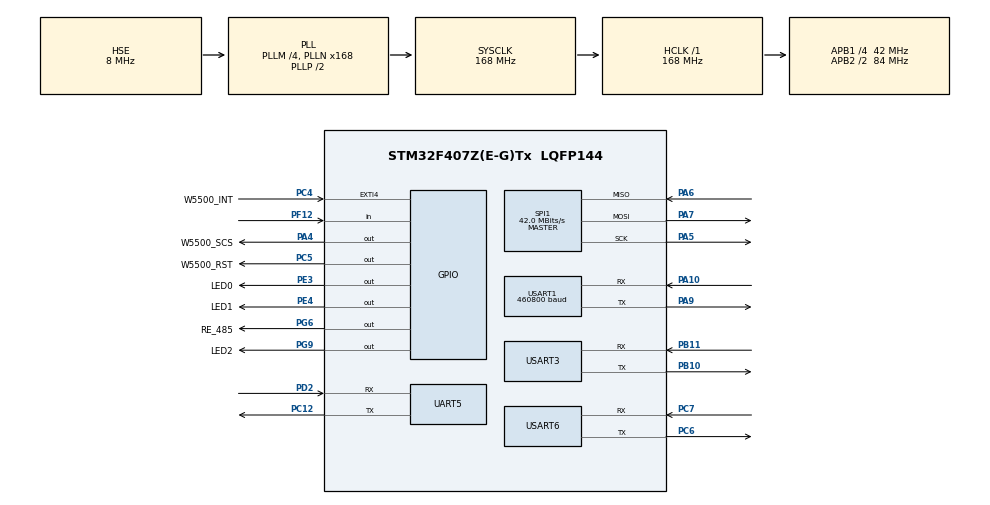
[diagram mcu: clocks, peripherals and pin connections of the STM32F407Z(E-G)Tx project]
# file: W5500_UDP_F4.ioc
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Dma.Request0=UART5_RX
Dma.Request1=USART6_RX
Dma.Request2=USART3_RX
Dma.Request3=USART1_RX
Dma.Request4=SPI1_TX
Dma.Request5=SPI1_RX
Dma.SPI1_RX.5.Direction=DMA_PERIPH_TO_MEMORY
Dma.SPI1_RX.5.FIFOMode=DMA_FIFOMODE_DISABLE
Dma.SPI1_RX.5.Instance=DMA2_Stream0
Dma.SPI1_RX.5.MemDataAlignment=DMA_MDATAALIGN_BYTE
Dma.SPI1_RX.5.MemInc=DMA_MINC_ENABLE
Dma.SPI1_RX.5.Mode=DMA_NORMAL
Dma.SPI1_RX.5.PeriphDataAlignment=DMA_PDATAALIGN_BYTE
Dma.SPI1_RX.5.PeriphInc=DMA_PINC_DISABLE
Dma.SPI1_RX.5.Priority=DMA_PRIORITY_LOW
Dma.SPI1_TX.4.Direction=DMA_MEMORY_TO_PERIPH
Dma.SPI1_TX.4.FIFOMode=DMA_FIFOMODE_DISABLE
Dma.SPI1_TX.4.Instance=DMA2_Stream3
Dma.SPI1_TX.4.MemDataAlignment=DMA_MDATAALIGN_BYTE
Dma.SPI1_TX.4.MemInc=DMA_MINC_ENABLE
Dma.SPI1_TX.4.Mode=DMA_NORMAL
Dma.SPI1_TX.4.PeriphDataAlignment=DMA_PDATAALIGN_BYTE
Dma.SPI1_TX.4.PeriphInc=DMA_PINC_DISABLE
Dma.SPI1_TX.4.Priority=DMA_PRIORITY_LOW
Dma.UART5_RX.0.Direction=DMA_PERIPH_TO_MEMORY
Dma.UART5_RX.0.FIFOMode=DMA_FIFOMODE_DISABLE
Dma.UART5_RX.0.Instance=DMA1_Stream0
Dma.UART5_RX.0.MemDataAlignment=DMA_MDATAALIGN_BYTE
Dma.UART5_RX.0.MemInc=DMA_MINC_ENABLE
Dma.UART5_RX.0.Mode=DMA_CIRCULAR
Dma.UART5_RX.0.PeriphDataAlignment=DMA_PDATAALIGN_BYTE
Dma.UART5_RX.0.PeriphInc=DMA_PINC_DISABLE
Dma.UART5_RX.0.Priority=DMA_PRIORITY_LOW
Dma.USART1_RX.3.Direction=DMA_PERIPH_TO_MEMORY
Dma.USART1_RX.3.FIFOMode=DMA_FIFOMODE_DISABLE
Dma.USART1_RX.3.Instance=DMA2_Stream2
Dma.USART1_RX.3.MemDataAlignment=DMA_MDATAALIGN_BYTE
Dma.USART1_RX.3.MemInc=DMA_MINC_ENABLE
Dma.USART1_RX.3.Mode=DMA_CIRCULAR
Dma.USART1_RX.3.PeriphDataAlignment=DMA_PDATAALIGN_BYTE
Dma.USART1_RX.3.PeriphInc=DMA_PINC_DISABLE
Dma.USART1_RX.3.Priority=DMA_PRIORITY_LOW
Dma.USART3_RX.2.Direction=DMA_PERIPH_TO_MEMORY
Dma.USART3_RX.2.FIFOMode=DMA_FIFOMODE_DISABLE
Dma.USART3_RX.2.Instance=DMA1_Stream1
Dma.USART3_RX.2.MemDataAlignment=DMA_MDATAALIGN_BYTE
Dma.USART3_RX.2.MemInc=DMA_MINC_ENABLE
Dma.USART3_RX.2.Mode=DMA_CIRCULAR
Dma.USART3_RX.2.PeriphDataAlignment=DMA_PDATAALIGN_BYTE
Dma.USART3_RX.2.PeriphInc=DMA_PINC_DISABLE
Dma.USART3_RX.2.Priority=DMA_PRIORITY_LOW
Dma.USART6_RX.1.Direction=DMA_PERIPH_TO_MEMORY
Dma.USART6_RX.1.FIFOMode=DMA_FIFOMODE_DISABLE
Dma.USART6_RX.1.Instance=DMA2_Stream1
Dma.USART6_RX.1.MemDataAlignment=DMA_MDATAALIGN_BYTE
Dma.USART6_RX.1.MemInc=DMA_MINC_ENABLE
Dma.USART6_RX.1.Mode=DMA_CIRCULAR
Dma.USART6_RX.1.PeriphDataAlignment=DMA_PDATAALIGN_BYTE
Dma.USART6_RX.1.PeriphInc=DMA_PINC_DISABLE
Dma.USART6_RX.1.Priority=DMA_PRIORITY_LOW
FREERTOS.Tasks01=defaultTask,0,4096,StartDefaultTask,Default,NULL,Dynamic,NULL,NULL;myTask02,-3,2048,StartTask02,Default,NULL,Dynamic,NULL,NULL
FREERTOS.configTOTAL_HEAP_SIZE=30720
Mcu.Family=STM32F4
Mcu.Name=STM32F407Z(E-G)Tx
Mcu.Package=LQFP144
NVIC.DMA1_Stream0_IRQn=true\:5\:0\:false\:false\:true\:true\:false\:true
NVIC.DMA1_Stream1_IRQn=true\:5\:0\:false\:false\:true\:true\:false\:true
NVIC.DMA2_Stream0_IRQn=true\:5\:0\:false\:false\:true\:true\:false\:true
NVIC.DMA2_Stream1_IRQn=true\:5\:0\:false\:false\:true\:true\:false\:true
NVIC.DMA2_Stream2_IRQn=true\:5\:0\:false\:false\:true\:true\:false\:true
NVIC.DMA2_Stream3_IRQn=true\:5\:0\:false\:false\:true\:true\:false\:true
NVIC.PriorityGroup=NVIC_PRIORITYGROUP_4
NVIC.TIM1_UP_TIM10_IRQn=true\:0\:0\:false\:false\:true\:false\:false\:true
NVIC.TIM2_IRQn=true\:5\:0\:false\:false\:true\:true\:true\:true
NVIC.TimeBase=TIM1_UP_TIM10_IRQn
NVIC.TimeBaseIP=TIM1
NVIC.UART5_IRQn=true\:5\:0\:false\:false\:true\:true\:true\:true
NVIC.USART1_IRQn=true\:5\:0\:false\:false\:true\:true\:true\:true
NVIC.USART3_IRQn=true\:5\:0\:false\:false\:true\:true\:true\:true
NVIC.USART6_IRQn=true\:5\:0\:false\:false\:true\:true\:true\:true
PA10.Mode=Asynchronous
PA10.Signal=USART1_RX
PA13.Mode=Serial_Wire
PA13.Signal=SYS_JTMS-SWDIO
PA14.Mode=Serial_Wire
PA14.Signal=SYS_JTCK-SWCLK
PA4.GPIO_Label=W5500_SCS
PA4.GPIO_Speed=GPIO_SPEED_FREQ_VERY_HIGH
PA4.Signal=GPIO_Output
PA5.Mode=Full_Duplex_Master
PA5.Signal=SPI1_SCK
PA6.Mode=Full_Duplex_Master
PA6.Signal=SPI1_MISO
PA7.Mode=Full_Duplex_Master
PA7.Signal=SPI1_MOSI
PA9.Mode=Asynchronous
PA9.Signal=USART1_TX
PB10.Mode=Asynchronous
PB10.Signal=USART3_TX
PB11.Mode=Asynchronous
PB11.Signal=USART3_RX
PC12.Mode=Asynchronous
PC12.Signal=UART5_TX
PC4.GPIO_Label=W5500_INT
PC4.Signal=GPXTI4
PC5.GPIO_Label=W5500_RST
PC5.GPIO_Speed=GPIO_SPEED_FREQ_VERY_HIGH
PC5.Signal=GPIO_Output
PC6.Mode=Asynchronous
PC6.Signal=USART6_TX
PC7.Mode=Asynchronous
PC7.Signal=USART6_RX
PD2.Mode=Asynchronous
PD2.Signal=UART5_RX
PE3.GPIO_Label=LED0
PE3.GPIO_Speed=GPIO_SPEED_FREQ_HIGH
PE3.PinState=GPIO_PIN_SET
PE3.Signal=GPIO_Output
PE4.GPIO_Label=LED1
PE4.GPIO_Speed=GPIO_SPEED_FREQ_HIGH
PE4.PinState=GPIO_PIN_SET
PE4.Signal=GPIO_Output
PF12.GPIO_PuPd=GPIO_PULLUP
PF12.Signal=GPIO_Input
PG6.GPIO_Label=RE_485
PG6.GPIO_Speed=GPIO_SPEED_FREQ_HIGH
PG6.Signal=GPIO_Output
PG9.GPIO_Label=LED2
PG9.GPIO_Speed=GPIO_SPEED_FREQ_HIGH
PG9.PinState=GPIO_PIN_SET
PG9.Signal=GPIO_Output
PH0-OSC_IN.Mode=HSE-External-Oscillator
PH0-OSC_IN.Signal=RCC_OSC_IN
PH1-OSC_OUT.Mode=HSE-External-Oscillator
PH1-OSC_OUT.Signal=RCC_OSC_OUT
ProjectManager.HeapSize=0x2000
ProjectManager.StackSize=0x1000
ProjectManager.TargetToolchain=MDK-ARM V5
RCC.48MHZClocksFreq_Value=84000000
RCC.AHBFreq_Value=168000000
RCC.APB1CLKDivider=RCC_HCLK_DIV4
RCC.APB1Freq_Value=42000000
RCC.APB1TimFreq_Value=84000000
RCC.APB2CLKDivider=RCC_HCLK_DIV2
RCC.APB2Freq_Value=84000000
RCC.APB2TimFreq_Value=168000000
RCC.CortexFreq_Value=168000000
RCC.HCLKFreq_Value=168000000
RCC.HSE_VALUE=8000000
RCC.HSI_VALUE=16000000
RCC.LSE_VALUE=32768
RCC.PLLM=4
RCC.PLLN=168
RCC.PLLSourceVirtual=RCC_PLLSOURCE_HSE
RCC.SYSCLKFreq_VALUE=168000000
RCC.SYSCLKSource=RCC_SYSCLKSOURCE_PLLCLK
RCC.VCOOutputFreq_Value=336000000
SPI1.BaudRatePrescaler=SPI_BAUDRATEPRESCALER_2
SPI1.CLKPhase=SPI_PHASE_1EDGE
SPI1.CLKPolarity=SPI_POLARITY_LOW
SPI1.CRCCalculation=SPI_CRCCALCULATION_DISABLE
SPI1.CalculateBaudRate=42.0 MBits/s
SPI1.Direction=SPI_DIRECTION_2LINES
SPI1.Mode=SPI_MODE_MASTER
SPI1.VirtualType=VM_MASTER
TIM2.Period=999
TIM2.Prescaler=41
UART5.VirtualMode=Asynchronous
USART1.BaudRate=460800
USART1.VirtualMode=VM_ASYNC
USART3.VirtualMode=VM_ASYNC
USART6.VirtualMode=VM_ASYNC
VP_FREERTOS_VS_CMSIS_V1.Mode=CMSIS_V1
VP_SYS_VS_tim1.Mode=TIM1
VP_TIM2_VS_ClockSourceINT.Mode=Internal
board=custom

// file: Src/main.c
/* USER CODE BEGIN Header */
/**
  ******************************************************************************
  * @file           : main.c
  * @brief          : Main program body
  ******************************************************************************
  * @attention
  *
  * <h2><center>&copy; Copyright (c) 2020 STMicroelectronics.
  * All rights reserved.</center></h2>
  *
  * This software component is licensed by ST under Ultimate Liberty license
  * SLA0044, the "License"; You may not use this file except in compliance with
  * the License. You may obtain a copy of the License at:
  *                             www.st.com/SLA0044
  *
  ******************************************************************************
  */

  /**
  **  XieFeng
  **  xiefeng3321@qq.com
  **  2020-10-10
  */
/* USER CODE END Header */
#include "main.h"
#include "cmsis_os.h"
#include "dma.h"
#include "spi.h"
#include "tim.h"
#include "usart.h"
#include "gpio.h"

/* USER CODE BEGIN Includes */
#include "w5500.h"
#include "W5500_conf.h"
#include "socket.h"
#include "utility.h"
#include "udp_demo.h"

/* USER CODE END Includes */

/* USER CODE BEGIN PTD */
extern unsigned int Timer2_Counter;   //Timer2定时器计数变量(ms)
extern uint32	ms;										  /*毫秒计数*/
/* USER CODE END PTD */

void SystemClock_Config(void);
void MX_FREERTOS_Init(void);

int main(void)
{

  /* MCU Configuration--------------------------------------------------------*/

  /* Reset of all peripherals, Initializes the Flash interface and the Systick. */
  HAL_Init();

  /* Configure the system clock */
  SystemClock_Config();

  /* Initialize all configured peripherals */
  MX_GPIO_Init();
  MX_DMA_Init();
  MX_UART5_Init();
  MX_USART6_UART_Init();
  MX_USART1_UART_Init();
  MX_USART3_UART_Init();
  MX_TIM2_Init();
  MX_SPI1_Init();
  /* USER CODE BEGIN 2 */

  gpio_for_w5500_config();	         	/*初始化MCU相关引脚*/
  reset_w5500();					            /*硬复位W5500*/
	set_w5500_mac();                    /*配置MAC地址*/
  set_w5500_ip();                     /*配置IP地址*/
  socket_buf_init(txsize, rxsize);    /*初始化8个Socket的发送接收缓存大小*/

	printf(" UDP_MODE \r\n");
	printf(" W5500 local_port:%d \r\n",local_port);
	printf("      remote_port:%d \r\n",remote_port);
	printf(" 设置W5500-MAC-IP完成 \r\n");

  /* USER CODE END 2 */

  /* Call init function for freertos objects (in freertos.c) */
  MX_FREERTOS_Init();
  /* Start scheduler */
  osKernelStart();

  /* We should never get here as control is now taken by the scheduler */
  /* Infinite loop */
  while (1)
  {

  }
}

void SystemClock_Config(void)
{
  RCC_OscInitTypeDef RCC_OscInitStruct = {0};
  RCC_ClkInitTypeDef RCC_ClkInitStruct = {0};

  /** Configure the main internal regulator output voltage
  */
  __HAL_RCC_PWR_CLK_ENABLE();
  __HAL_PWR_VOLTAGESCALING_CONFIG(PWR_REGULATOR_VOLTAGE_SCALE1);
  /** Initializes the RCC Oscillators according to the specified parameters
  * in the RCC_OscInitTypeDef structure.
  */
  RCC_OscInitStruct.OscillatorType = RCC_OSCILLATORTYPE_HSE;
  RCC_OscInitStruct.HSEState = RCC_HSE_ON;
  RCC_OscInitStruct.PLL.PLLState = RCC_PLL_ON;
  RCC_OscInitStruct.PLL.PLLSource = RCC_PLLSOURCE_HSE;
  RCC_OscInitStruct.PLL.PLLM = 4;
  RCC_OscInitStruct.PLL.PLLN = 168;
  RCC_OscInitStruct.PLL.PLLP = RCC_PLLP_DIV2;
  RCC_OscInitStruct.PLL.PLLQ = 4;
  if (HAL_RCC_OscConfig(&RCC_OscInitStruct) != HAL_OK)
  {
    Error_Handler();
  }
  /** Initializes the CPU, AHB and APB buses clocks
  */
  RCC_ClkInitStruct.ClockType = RCC_CLOCKTYPE_HCLK|RCC_CLOCKTYPE_SYSCLK
                              |RCC_CLOCKTYPE_PCLK1|RCC_CLOCKTYPE_PCLK2;
  RCC_ClkInitStruct.SYSCLKSource = RCC_SYSCLKSOURCE_PLLCLK;
  RCC_ClkInitStruct.AHBCLKDivider = RCC_SYSCLK_DIV1;
  RCC_ClkInitStruct.APB1CLKDivider = RCC_HCLK_DIV4;
  RCC_ClkInitStruct.APB2CLKDivider = RCC_HCLK_DIV2;

  if (HAL_RCC_ClockConfig(&RCC_ClkInitStruct, FLASH_LATENCY_5) != HAL_OK)
  {
    Error_Handler();
  }
}

void HAL_TIM_PeriodElapsedCallback(TIM_HandleTypeDef *htim)
{
  if (htim->Instance == TIM1) {
    HAL_IncTick();
  }
  /* USER CODE BEGIN Callback 1 */
  else if(htim == (&htim2))
  {
    Timer2_Counter++;
    ms++;
    if(ms >= 1000)
    {
      ms = 0;
      dhcp_time++;																					/*DHCP定时加1S*/
      #ifndef	__NTP_H__
      ntptimer++;																						/*NTP重试时间加1S*/
      #endif
      HAL_GPIO_TogglePin(LED1_GPIO_Port, LED1_Pin);
    }
  }
  /* USER CODE END Callback 1 */
}

void Error_Handler(void)
{
}

/************************ (C) COPYRIGHT STMicroelectronics *****END OF FILE****/

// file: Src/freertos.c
/* USER CODE BEGIN Header */
/**
  ******************************************************************************
  * File Name          : freertos.c
  * Description        : Code for freertos applications
  ******************************************************************************
  * @attention
  *
  * <h2><center>&copy; Copyright (c) 2020 STMicroelectronics.
  * All rights reserved.</center></h2>
  *
  * This software component is licensed by ST under Ultimate Liberty license
  * SLA0044, the "License"; You may not use this file except in compliance with
  * the License. You may obtain a copy of the License at:
  *                             www.st.com/SLA0044
  *
  ******************************************************************************
  */
/* USER CODE END Header */

#include "FreeRTOS.h"
#include "task.h"
#include "main.h"
#include "cmsis_os.h"

/* USER CODE BEGIN Includes */
#include "udp_demo.h"
#include "w5500.h"
#include "socket.h"
#include "w5500_conf.h"

/* USER CODE END Includes */

osThreadId defaultTaskHandle;
osThreadId myTask02Handle;

void StartDefaultTask(void const * argument);
void StartTask02(void const * argument);

void MX_FREERTOS_Init(void); /* (MISRA C 2004 rule 8.1) */

/* GetIdleTaskMemory prototype (linked to static allocation support) */
void vApplicationGetIdleTaskMemory( StaticTask_t **ppxIdleTaskTCBBuffer, StackType_t **ppxIdleTaskStackBuffer, uint32_t *pulIdleTaskStackSize );

/* USER CODE BEGIN GET_IDLE_TASK_MEMORY */
static StaticTask_t xIdleTaskTCBBuffer;
static StackType_t xIdleStack[configMINIMAL_STACK_SIZE];

void vApplicationGetIdleTaskMemory( StaticTask_t **ppxIdleTaskTCBBuffer, StackType_t **ppxIdleTaskStackBuffer, uint32_t *pulIdleTaskStackSize )
{
  *ppxIdleTaskTCBBuffer = &xIdleTaskTCBBuffer;
  *ppxIdleTaskStackBuffer = &xIdleStack[0];
  *pulIdleTaskStackSize = configMINIMAL_STACK_SIZE;
  /* place for user code */
}
/* USER CODE END GET_IDLE_TASK_MEMORY */

void MX_FREERTOS_Init(void) {

  /* Create the thread(s) */
  /* definition and creation of defaultTask */
  osThreadDef(defaultTask, StartDefaultTask, osPriorityNormal, 0, 4096);
  defaultTaskHandle = osThreadCreate(osThread(defaultTask), NULL);

  /* definition and creation of myTask02 */
  osThreadDef(myTask02, StartTask02, osPriorityIdle, 0, 2048);
  myTask02Handle = osThreadCreate(osThread(myTask02), NULL);

}

void StartDefaultTask(void const * argument)
{
  /* USER CODE BEGIN StartDefaultTask */
  printf("进入任务1: UDP数据回环测试\r\n");
  /* Infinite loop */
  for(;;)
  {
    do_udp();                         /*UDP 数据回环测试*/
    osDelay(200);
  }
  /* USER CODE END StartDefaultTask */
}

void StartTask02(void const * argument)
{
  /* USER CODE BEGIN StartTask02 */
  /* Infinite loop */
  for(;;)
  {
    HAL_GPIO_TogglePin(LED0_GPIO_Port, LED0_Pin);
    osDelay(300);
  }
  /* USER CODE END StartTask02 */
}

/************************ (C) COPYRIGHT STMicroelectronics *****END OF FILE****/
